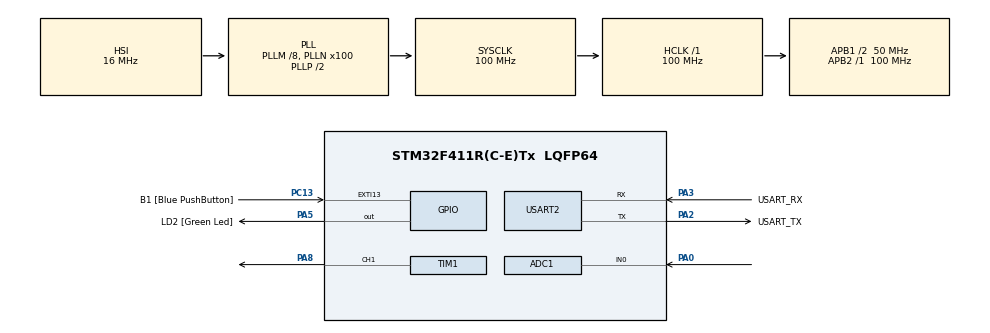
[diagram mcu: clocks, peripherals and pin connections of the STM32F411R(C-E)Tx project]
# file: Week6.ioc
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Mcu.Family=STM32F4
RCC.CortexFreq_Value=100000000
PA14.GPIO_Label=TCK
TIM1.Pulse-PWM\ Generation1\ CH1=0
RCC.SYSCLKSource=RCC_SYSCLKSOURCE_PLLCLK
ProjectManager.StackSize=0x400
NVIC.ADC_IRQn=true\:0\:0\:false\:false\:true\:true\:true
PH0\ -\ OSC_IN.Signal=RCC_OSC_IN
RCC.HCLKFreq_Value=100000000
RCC.APB2TimFreq_Value=100000000
TIM3.Period=1000
RCC.AHBFreq_Value=100000000
ADC1.Channel-0\#ChannelRegularConversion=ADC_CHANNEL_0
NVIC.TIM1_TRG_COM_TIM11_IRQn=true\:0\:0\:false\:false\:true\:true\:true
RCC.HSE_VALUE=8000000
PC13-ANTI_TAMP.Signal=GPXTI13
PC14-OSC32_IN.Mode=LSE-External-Oscillator
TIM1.Channel-PWM\ Generation1\ CH1=TIM_CHANNEL_1
PA14.Mode=Serial_Wire
TIM3.Prescaler=99
PA8.Signal=S_TIM1_CH1
SH.ADCx_IN0.0=ADC1_IN0,IN0
VP_TIM1_VS_ClockSourceINT.Mode=Internal
ADC1.SamplingTime-0\#ChannelRegularConversion=ADC_SAMPLETIME_480CYCLES
RCC.FLatency-AdvancedSettings=FLASH_LATENCY_3
Mcu.Package=LQFP64
USART2.VirtualMode=VM_ASYNC
PA2.GPIO_Label=USART_TX
RCC.APB1TimFreq_Value=100000000
TIM1.Period=10000
VP_TIM3_VS_ClockSourceINT.Mode=Internal
PA3.Signal=USART2_RX
PB3.GPIO_Label=SWO
PC15-OSC32_OUT.Mode=LSE-External-Oscillator
ADC1.Rank-0\#ChannelRegularConversion=1
PC13-ANTI_TAMP.GPIO_Label=B1 [Blue PushButton]
PH1\ -\ OSC_OUT.Mode=HSE-External-Clock-Source
TIM11.Prescaler=99
RCC.APB1CLKDivider=RCC_HCLK_DIV2
PC14-OSC32_IN.Signal=RCC_OSC32_IN
PA0-WKUP.Signal=ADCx_IN0
VP_TIM11_VS_ClockSourceINT.Mode=Enable_Timer
PA13.Signal=SYS_JTMS-SWDIO
PA3.Mode=Asynchronous
TIM1.AutoReloadPreload=TIM_AUTORELOAD_PRELOAD_ENABLE
PH0\ -\ OSC_IN.Mode=HSE-External-Clock-Source
SH.S_TIM1_CH1.0=TIM1_CH1,PWM Generation1 CH1
ProjectManager.TargetToolchain=STM32CubeIDE
PC15-OSC32_OUT.Signal=RCC_OSC32_OUT
PA5.Signal=GPIO_Output
PH1\ -\ OSC_OUT.Signal=RCC_OSC_OUT
board=NUCLEO-F411RE
RCC.VCOOutputFreq_Value=200000000
TIM1.TIM_MasterOutputTrigger=TIM_TRGO_RESET
RCC.APB2Freq_Value=100000000
PA13.Mode=Serial_Wire
Mcu.Name=STM32F411R(C-E)Tx
PA13.GPIO_Label=TMS
PA2.Signal=USART2_TX
ADC1.ExternalTrigConv=ADC_EXTERNALTRIGCONV_T3_TRGO
RCC.48MHZClocksFreq_Value=50000000
PB3.Signal=SYS_JTDO-SWO
RCC.SYSCLKFreq_VALUE=100000000
ADC1.master=1
PA5.GPIO_Label=LD2 [Green Led]
PC13-ANTI_TAMP.GPIO_ModeDefaultEXTI=GPIO_MODE_IT_FALLING
PA14.Signal=SYS_JTCK-SWCLK
ProjectManager.HeapSize=0x200
RCC.HSI_VALUE=16000000
NVIC.PriorityGroup=NVIC_PRIORITYGROUP_0
ADC1.NbrOfConversionFlag=1
RCC.PLLM=8
RCC.PLLN=100
PA2.Mode=Asynchronous
TIM3.TIM_MasterOutputTrigger=TIM_TRGO_UPDATE
RCC.APB1Freq_Value=50000000
PA3.GPIO_Label=USART_RX

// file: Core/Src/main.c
/* USER CODE BEGIN Header */
/**
 ******************************************************************************
 * @file           : main.c
 * @brief          : Main program body
 ******************************************************************************
 * @attention
 *
 * <h2><center>&copy; Copyright (c) 2021 STMicroelectronics.
 * All rights reserved.</center></h2>
 *
 * This software component is licensed by ST under BSD 3-Clause license,
 * the "License"; You may not use this file except in compliance with the
 * License. You may obtain a copy of the License at:
 *                        opensource.org/licenses/BSD-3-Clause
 *
 ******************************************************************************
 */
/* USER CODE END Header */
#include "main.h"

ADC_HandleTypeDef hadc1;

TIM_HandleTypeDef htim1;
TIM_HandleTypeDef htim3;
TIM_HandleTypeDef htim11;

UART_HandleTypeDef huart2;

/* USER CODE BEGIN PV */
float PWMOut = 3000;
uint8_t ADCUpdateFlag = 0;
uint16_t ADCFeedBack = 0; // Store ADC Value
float V = 0;
float Kp = 0.65*1000;
float Ki = 0;
float Kd = 0.5*1000;
float PID = 0;
float error = 0;
float error_pre = 0;
float total_error = 0;
uint64_t _micro = 0;
uint64_t TimeOutputLoop = 0;
/* USER CODE END PV */

void SystemClock_Config(void);
static void MX_GPIO_Init(void);
static void MX_USART2_UART_Init(void);
static void MX_ADC1_Init(void);
static void MX_TIM1_Init(void);
static void MX_TIM3_Init(void);
static void MX_TIM11_Init(void);
/* USER CODE BEGIN PFP */
uint64_t micros();
/* USER CODE END PFP */

int main(void)
{

  /* MCU Configuration--------------------------------------------------------*/

  /* Reset of all peripherals, Initializes the Flash interface and the Systick. */
  HAL_Init();

  /* Configure the system clock */
  SystemClock_Config();

  /* Initialize all configured peripherals */
  MX_GPIO_Init();
  MX_USART2_UART_Init();
  MX_ADC1_Init();
  MX_TIM1_Init();
  MX_TIM3_Init();
  MX_TIM11_Init();
  /* USER CODE BEGIN 2 */

	// ADC START
	HAL_ADC_Start_IT(&hadc1);
	HAL_TIM_Base_Start(&htim3); // start timer3

	// START PWM
	HAL_TIM_Base_Start(&htim1);
	HAL_TIM_PWM_Start(&htim1, TIM_CHANNEL_1);

	// START MICROS - start timer11 in mode interrupt
	HAL_TIM_Base_Start_IT(&htim11);

  /* USER CODE END 2 */

  /* Infinite loop */
	while (1)
	{

    /* USER CODE BEGIN 3 */

		//1 Khz Loop
		if (micros() - TimeOutputLoop > 1000) //us
		{
			TimeOutputLoop = micros();
			// #001
			// Duty cycle = compare value/Period
			// PWM = 1/ Period(s)

			// V = ADC*PWM*(Vin/board)
			V = ADCFeedBack*(PWMOut/10000)*(3.3/4096);
			error = 1-ADCFeedBack*(PWMOut/10000)*(3.3/4096);
			total_error += error;

			// Kp*error(t) // ki [total error(t)] // Kd [error now - error pre]
			PID = (Kp*error)+(Ki*total_error)+(Kd*(error-error_pre));
			error_pre = error;
			PWMOut += PID;

			__HAL_TIM_SET_COMPARE(&htim1, TIM_CHANNEL_1, PWMOut); // Update Compare Value
		}

		if (ADCUpdateFlag)
		{
			ADCUpdateFlag = 0;
			//#002
		}
	}
  /* USER CODE END 3 */
}

void SystemClock_Config(void)
{
  RCC_OscInitTypeDef RCC_OscInitStruct = {0};
  RCC_ClkInitTypeDef RCC_ClkInitStruct = {0};

  /** Configure the main internal regulator output voltage
  */
  __HAL_RCC_PWR_CLK_ENABLE();
  __HAL_PWR_VOLTAGESCALING_CONFIG(PWR_REGULATOR_VOLTAGE_SCALE1);
  /** Initializes the RCC Oscillators according to the specified parameters
  * in the RCC_OscInitTypeDef structure.
  */
  RCC_OscInitStruct.OscillatorType = RCC_OSCILLATORTYPE_HSI;
  RCC_OscInitStruct.HSIState = RCC_HSI_ON;
  RCC_OscInitStruct.HSICalibrationValue = RCC_HSICALIBRATION_DEFAULT;
  RCC_OscInitStruct.PLL.PLLState = RCC_PLL_ON;
  RCC_OscInitStruct.PLL.PLLSource = RCC_PLLSOURCE_HSI;
  RCC_OscInitStruct.PLL.PLLM = 8;
  RCC_OscInitStruct.PLL.PLLN = 100;
  RCC_OscInitStruct.PLL.PLLP = RCC_PLLP_DIV2;
  RCC_OscInitStruct.PLL.PLLQ = 4;
  if (HAL_RCC_OscConfig(&RCC_OscInitStruct) != HAL_OK)
  {
    Error_Handler();
  }
  /** Initializes the CPU, AHB and APB buses clocks
  */
  RCC_ClkInitStruct.ClockType = RCC_CLOCKTYPE_HCLK|RCC_CLOCKTYPE_SYSCLK
                              |RCC_CLOCKTYPE_PCLK1|RCC_CLOCKTYPE_PCLK2;
  RCC_ClkInitStruct.SYSCLKSource = RCC_SYSCLKSOURCE_PLLCLK;
  RCC_ClkInitStruct.AHBCLKDivider = RCC_SYSCLK_DIV1;
  RCC_ClkInitStruct.APB1CLKDivider = RCC_HCLK_DIV2;
  RCC_ClkInitStruct.APB2CLKDivider = RCC_HCLK_DIV1;

  if (HAL_RCC_ClockConfig(&RCC_ClkInitStruct, FLASH_LATENCY_3) != HAL_OK)
  {
    Error_Handler();
  }
}

static void MX_ADC1_Init(void)
{

  ADC_ChannelConfTypeDef sConfig = {0};

  /** Configure the global features of the ADC (Clock, Resolution, Data Alignment and number of conversion)
  */
  hadc1.Instance = ADC1;
  hadc1.Init.ClockPrescaler = ADC_CLOCK_SYNC_PCLK_DIV4;
  hadc1.Init.Resolution = ADC_RESOLUTION_12B;
  hadc1.Init.ScanConvMode = DISABLE;
  hadc1.Init.ContinuousConvMode = DISABLE;
  hadc1.Init.DiscontinuousConvMode = DISABLE;
  hadc1.Init.ExternalTrigConvEdge = ADC_EXTERNALTRIGCONVEDGE_RISING;
  hadc1.Init.ExternalTrigConv = ADC_EXTERNALTRIGCONV_T3_TRGO;
  hadc1.Init.DataAlign = ADC_DATAALIGN_RIGHT;
  hadc1.Init.NbrOfConversion = 1;
  hadc1.Init.DMAContinuousRequests = DISABLE;
  hadc1.Init.EOCSelection = ADC_EOC_SINGLE_CONV;
  if (HAL_ADC_Init(&hadc1) != HAL_OK)
  {
    Error_Handler();
  }
  /** Configure for the selected ADC regular channel its corresponding rank in the sequencer and its sample time.
  */
  sConfig.Channel = ADC_CHANNEL_0;
  sConfig.Rank = 1;
  sConfig.SamplingTime = ADC_SAMPLETIME_480CYCLES;
  if (HAL_ADC_ConfigChannel(&hadc1, &sConfig) != HAL_OK)
  {
    Error_Handler();
  }

}

static void MX_TIM1_Init(void)
{

  TIM_ClockConfigTypeDef sClockSourceConfig = {0};
  TIM_MasterConfigTypeDef sMasterConfig = {0};
  TIM_OC_InitTypeDef sConfigOC = {0};
  TIM_BreakDeadTimeConfigTypeDef sBreakDeadTimeConfig = {0};

  htim1.Instance = TIM1;
  htim1.Init.Prescaler = 0;
  htim1.Init.CounterMode = TIM_COUNTERMODE_UP;
  htim1.Init.Period = 10000;
  htim1.Init.ClockDivision = TIM_CLOCKDIVISION_DIV1;
  htim1.Init.RepetitionCounter = 0;
  htim1.Init.AutoReloadPreload = TIM_AUTORELOAD_PRELOAD_ENABLE;
  if (HAL_TIM_Base_Init(&htim1) != HAL_OK)
  {
    Error_Handler();
  }
  sClockSourceConfig.ClockSource = TIM_CLOCKSOURCE_INTERNAL;
  if (HAL_TIM_ConfigClockSource(&htim1, &sClockSourceConfig) != HAL_OK)
  {
    Error_Handler();
  }
  if (HAL_TIM_PWM_Init(&htim1) != HAL_OK)
  {
    Error_Handler();
  }
  sMasterConfig.MasterOutputTrigger = TIM_TRGO_RESET;
  sMasterConfig.MasterSlaveMode = TIM_MASTERSLAVEMODE_DISABLE;
  if (HAL_TIMEx_MasterConfigSynchronization(&htim1, &sMasterConfig) != HAL_OK)
  {
    Error_Handler();
  }
  sConfigOC.OCMode = TIM_OCMODE_PWM1;
  sConfigOC.Pulse = 0;
  sConfigOC.OCPolarity = TIM_OCPOLARITY_HIGH;
  sConfigOC.OCNPolarity = TIM_OCNPOLARITY_HIGH;
  sConfigOC.OCFastMode = TIM_OCFAST_DISABLE;
  sConfigOC.OCIdleState = TIM_OCIDLESTATE_RESET;
  sConfigOC.OCNIdleState = TIM_OCNIDLESTATE_RESET;
  if (HAL_TIM_PWM_ConfigChannel(&htim1, &sConfigOC, TIM_CHANNEL_1) != HAL_OK)
  {
    Error_Handler();
  }
  sBreakDeadTimeConfig.OffStateRunMode = TIM_OSSR_DISABLE;
  sBreakDeadTimeConfig.OffStateIDLEMode = TIM_OSSI_DISABLE;
  sBreakDeadTimeConfig.LockLevel = TIM_LOCKLEVEL_OFF;
  sBreakDeadTimeConfig.DeadTime = 0;
  sBreakDeadTimeConfig.BreakState = TIM_BREAK_DISABLE;
  sBreakDeadTimeConfig.BreakPolarity = TIM_BREAKPOLARITY_HIGH;
  sBreakDeadTimeConfig.AutomaticOutput = TIM_AUTOMATICOUTPUT_DISABLE;
  if (HAL_TIMEx_ConfigBreakDeadTime(&htim1, &sBreakDeadTimeConfig) != HAL_OK)
  {
    Error_Handler();
  }
  HAL_TIM_MspPostInit(&htim1);

}

static void MX_TIM3_Init(void)
{

  TIM_ClockConfigTypeDef sClockSourceConfig = {0};
  TIM_MasterConfigTypeDef sMasterConfig = {0};

  htim3.Instance = TIM3;
  htim3.Init.Prescaler = 99;
  htim3.Init.CounterMode = TIM_COUNTERMODE_UP;
  htim3.Init.Period = 1000;
  htim3.Init.ClockDivision = TIM_CLOCKDIVISION_DIV1;
  htim3.Init.AutoReloadPreload = TIM_AUTORELOAD_PRELOAD_DISABLE;
  if (HAL_TIM_Base_Init(&htim3) != HAL_OK)
  {
    Error_Handler();
  }
  sClockSourceConfig.ClockSource = TIM_CLOCKSOURCE_INTERNAL;
  if (HAL_TIM_ConfigClockSource(&htim3, &sClockSourceConfig) != HAL_OK)
  {
    Error_Handler();
  }
  sMasterConfig.MasterOutputTrigger = TIM_TRGO_UPDATE;
  sMasterConfig.MasterSlaveMode = TIM_MASTERSLAVEMODE_DISABLE;
  if (HAL_TIMEx_MasterConfigSynchronization(&htim3, &sMasterConfig) != HAL_OK)
  {
    Error_Handler();
  }

}

static void MX_TIM11_Init(void)
{

  htim11.Instance = TIM11;
  htim11.Init.Prescaler = 99;
  htim11.Init.CounterMode = TIM_COUNTERMODE_UP;
  htim11.Init.Period = 65535;
  htim11.Init.ClockDivision = TIM_CLOCKDIVISION_DIV1;
  htim11.Init.AutoReloadPreload = TIM_AUTORELOAD_PRELOAD_DISABLE;
  if (HAL_TIM_Base_Init(&htim11) != HAL_OK)
  {
    Error_Handler();
  }

}

static void MX_USART2_UART_Init(void)
{

  huart2.Instance = USART2;
  huart2.Init.BaudRate = 115200;
  huart2.Init.WordLength = UART_WORDLENGTH_8B;
  huart2.Init.StopBits = UART_STOPBITS_1;
  huart2.Init.Parity = UART_PARITY_NONE;
  huart2.Init.Mode = UART_MODE_TX_RX;
  huart2.Init.HwFlowCtl = UART_HWCONTROL_NONE;
  huart2.Init.OverSampling = UART_OVERSAMPLING_16;
  if (HAL_UART_Init(&huart2) != HAL_OK)
  {
    Error_Handler();
  }

}

static void MX_GPIO_Init(void)
{
  GPIO_InitTypeDef GPIO_InitStruct = {0};

  /* GPIO Ports Clock Enable */
  __HAL_RCC_GPIOC_CLK_ENABLE();
  __HAL_RCC_GPIOH_CLK_ENABLE();
  __HAL_RCC_GPIOA_CLK_ENABLE();
  __HAL_RCC_GPIOB_CLK_ENABLE();

  /*Configure GPIO pin Output Level */
  HAL_GPIO_WritePin(LD2_GPIO_Port, LD2_Pin, GPIO_PIN_RESET);

  /*Configure GPIO pin : B1_Pin */
  GPIO_InitStruct.Pin = B1_Pin;
  GPIO_InitStruct.Mode = GPIO_MODE_IT_FALLING;
  GPIO_InitStruct.Pull = GPIO_NOPULL;
  HAL_GPIO_Init(B1_GPIO_Port, &GPIO_InitStruct);

  /*Configure GPIO pin : LD2_Pin */
  GPIO_InitStruct.Pin = LD2_Pin;
  GPIO_InitStruct.Mode = GPIO_MODE_OUTPUT_PP;
  GPIO_InitStruct.Pull = GPIO_NOPULL;
  GPIO_InitStruct.Speed = GPIO_SPEED_FREQ_LOW;
  HAL_GPIO_Init(LD2_GPIO_Port, &GPIO_InitStruct);

}

/* USER CODE BEGIN 4 */

void HAL_ADC_ConvCpltCallback(ADC_HandleTypeDef *hadc)
{
	ADCFeedBack = HAL_ADC_GetValue(&hadc1);
	ADCUpdateFlag = 1;

}
void HAL_TIM_PeriodElapsedCallback(TIM_HandleTypeDef *htim)
{
	if (htim == &htim11) // check timer11
	{
		_micro += 65535;
	}
}
__inline__ uint64_t micros()
{
	return _micro + htim11.Instance->CNT;
}
/* USER CODE END 4 */

void Error_Handler(void)
{
	__disable_irq();
	while (1)
	{
	}
}

/************************ (C) COPYRIGHT STMicroelectronics *****END OF FILE****/
